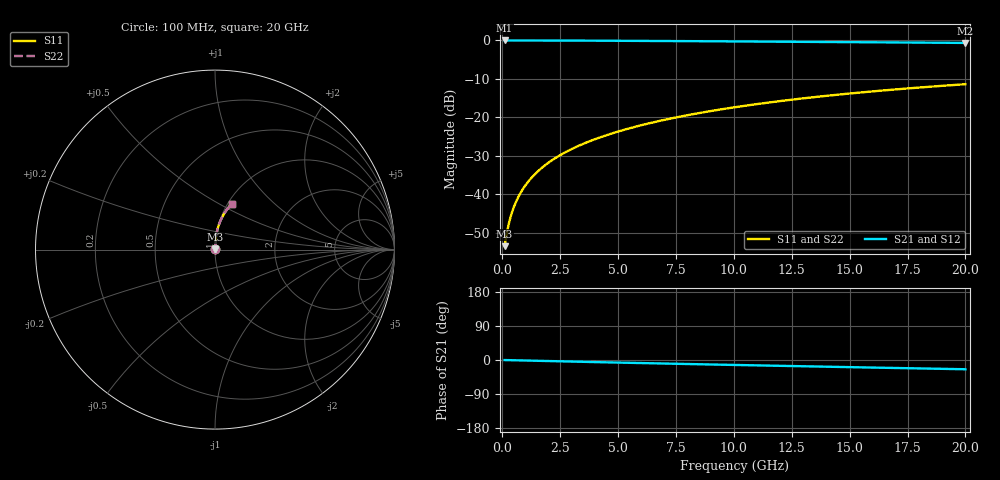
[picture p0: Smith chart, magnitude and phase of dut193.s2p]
! Touchstone file exported from HFSS 2024.1.0
!  File:  C:/UserFiles/LocalFiles/RDL_TSV_Batchsim/temp_RDL_bottom_193_1778699212.aedt
!  Generated:  03:09:53 AM May 14, 2026
!  Design:  RDL_bottom
!  Project:  temp_RDL_bottom_193_1778699212
!  Setup:  Setup1
!  Solution:  Sweep
! Variables:
!  dtsv = 10.80580581um
!  hbump = 3um
!  htsv = 95.37um
!  ldown = 302.82um
!  lrdl = 100um
!  p = 40
!  p1 = 51.43um
!  rhole = 1um
!  t = 450um
!  tdown = 3.88um
!  trdl = 3.915915916um
!  wdown = 19.26um
!  wrdl = 20um
# GHz S MA R 50.000000
! Terminal data exported
! Port[1] = RDL1_T1
! Port[2] = RDL1_T2
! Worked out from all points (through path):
!   200 points, 100 MHz to 20 GHz, reference 50 ohm
!   highest |S21| = -0.01 dB at 100 MHz (marker M1); lowest = -0.7 dB at 20 GHz (marker M2)
!   group delay of S21, straight-line fit = 3.37 ps
!   lowest |S11| = -53.5 dB at 100 MHz (marker M3), VSWR 1.00, Z = 50.2 + j0.137 ohm
!   |S11| at or under -10 dB: start of sweep to end of sweep
!   |S22| runs from -53.5 to -11.4 dB; largest |S21 - S12| = 4e-15
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0.1  0.002113 40.3  0.9984 -0.1  0.9984 -0.1  0.002113 40.3
! Gamma 0 0 0 0
! Port Impedance 50 0 50 0
0.2  0.003181 58.4  0.9983 -0.3  0.9983 -0.3  0.003181 58.4
0.3  0.004377 66.6  0.9982 -0.4  0.9982 -0.4  0.004377 66.6
0.4  0.005601 71.3  0.9981 -0.6  0.9981 -0.6  0.005601 71.3
0.5  0.006833 74.3  0.9981 -0.7  0.9981 -0.7  0.006833 74.3
0.6  0.00807 76.4  0.998 -0.8  0.998 -0.8  0.00807 76.4
0.8  0.01056 79.3  0.9978 -1.1  0.9978 -1.1  0.01056 79.3
1.1  0.01433 81.8  0.9976 -1.5  0.9976 -1.5  0.01433 81.8
1.5  0.0194 83.6  0.9971 -2.1  0.9971 -2.1  0.0194 83.6
1.8  0.02323 84.4  0.9967 -2.5  0.9967 -2.5  0.02323 84.4
2.1  0.02708 84.9  0.9962 -2.9  0.9962 -2.9  0.02708 84.9
2.7  0.03484 85.5  0.9951 -3.8  0.9951 -3.8  0.03484 85.5
3.5  0.04532 85.8  0.9932 -4.8  0.9932 -4.8  0.04532 85.8
4.2  0.0546 85.8  0.9913 -5.8  0.9913 -5.8  0.0546 85.8
5  0.06533 85.6  0.9889 -6.8  0.9889 -6.8  0.06533 85.6
5.9  0.07757 85.1  0.9859 -8.0  0.9859 -8.0  0.07757 85.1
6.8  0.08995 84.5  0.9827 -9.1  0.9827 -9.1  0.08995 84.5
8.4  0.1122 83.2  0.9767 -11.1  0.9767 -11.1  0.1122 83.2
10.1  0.1361 81.5  0.97 -13.2  0.97 -13.2  0.1361 81.5
13.4  0.1821 77.8  0.9564 -17.0  0.9564 -17.0  0.1821 77.8
16.7  0.2268 73.9  0.9423 -20.8  0.9423 -20.8  0.2268 73.9
20  0.2695 70.1  0.9274 -24.4  0.9274 -24.4  0.2695 70.1
